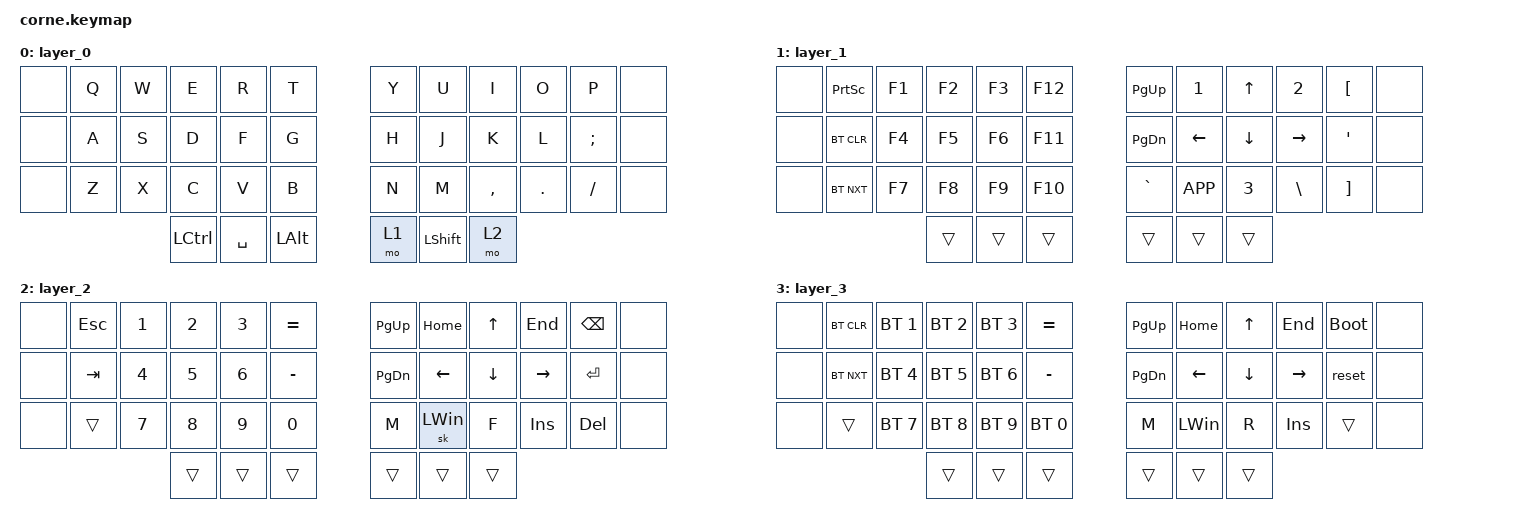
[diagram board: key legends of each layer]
/*
 * Copyright (c) 2020 The ZMK Contributors
 *
 * SPDX-License-Identifier: MIT
 */

#include <behaviors.dtsi>
#include <dt-bindings/zmk/keys.h>
#include <dt-bindings/zmk/bt.h>
#include <dt-bindings/zmk/ext_power.h>

/ {
	conditional_layers{
		compatible = "zmk,conditional-layers";
		tri_layer {
			if-layers = <1 2>;
			then-layer = <3>;
		};
	};
};

/ {    
 	keymap {
   	compatible = "zmk,keymap";
			layer_0 {
// -----------------------------------------------------------------------------
// | ___ |  Q  |  W  |  E  |  R  |  T  |   |  Y  |  U  |  I  |  O  |  P  | ___ |
// | ___ |  A  |  S  |  D  |  F  |  G  |   |  H  |  J  |  K  |  L  |  ;  | ___ |
// | ___ |  Z  |  X  |  C  |  V  |  B  |   |  N  |  M  |  ,  |  .  |  /  | ___ |
//                   | CTL | SPC | ALT |   |  1  | SFT |  2  |
	bindings = <
   &none	&kp Q	&kp W	&kp E	&kp R	&kp T			&kp Y	&kp U	&kp I     &kp O   &kp P    &none
   &none	&kp A	&kp S	&kp D	&kp F	&kp G			&kp H	&kp J	&kp K     &kp L   &kp SEMI &none
   &none	&kp Z	&kp X	&kp C	&kp V	&kp B			&kp N	&kp M	&kp COMMA &kp DOT &kp FSLH &none
				&kp LCTRL &kp SPACE	&kp LALT		&mo 1 &kp LSHFT &mo 2
                        >;
		};
			layer_1 {
// -----------------------------------------------------------------------------
// | ___ |Print|  F1 |  F2 |  F3 | F12 |   | WhU | MB1 |M UP | MB2 | [х{ | ___ |
// | ___ | CLR |  F4 |  F5 |  F6 | F11 |   | WhD |MLFT |MDWN |MRGT | 'э" | ___ |
// | ___ | NXT |  F7 |  F8 |  F9 | F10 |   | `ё~ | menu| MB3 | \|	 | ]ъ} | ___ |
//                   | CTL | SPC | ALT |   |  1  | SFT |  2  |
	bindings = <
	&none	&kp PSCRN 	&kp F1 &kp F2 	&kp F3 	&kp F12			&kp PG_UP 	&kp N1	&kp UP  	&kp N2	  	&kp LBKT &none
	&none	&bt BT_CLR 	&kp F4 &kp F5	&kp F6	&kp F11			&kp PG_DN 	&kp LEFT	&kp DOWN &kp RIGHT	&kp SQT 	&none
	&none	&bt BT_NXT 	&kp F7 &kp F8	&kp F9	&kp F10			&kp GRAVE	&kp K_APP &kp N3 	&kp BSLH 	&kp RBKT	&none
									&trans	&trans	&trans			&trans 		&trans	&trans
                        >;
		};
			layer_2 {
// -----------------------------------------------------------------------------
// | ___ | Esc |  1  |  2  |  3  |  =  |   | pgU | home|  UP | end | bspc| ___ |
// | ___ | Tab |  4  |  5  |  6  |  -  |   | PgD | LFT | DWN | RGT | ent | ___ |
// | ___ | ___ |  7  |  8  |  9  |  0  |   |macr0| win |ru\en| ins | del | ___ |
//                   | CTL | SPC | ALT |   |  1  | SFT |  2  |
	bindings = <
	&none	&kp ESC	&kp N1	&kp N2	&kp N3	&kp EQUAL		&kp PG_UP	&kp HOME	&kp UP  	&kp END  	&kp BSPC &none
	&none	&kp TAB  &kp N4	&kp N5	&kp N6	&kp MINUS		&kp PG_DN	&kp LEFT	&kp DOWN &kp RIGHT	&kp RET 	&none
	&none	&trans	&kp N7	&kp N8	&kp N9	&kp N0			&kp M			&sk LWIN	&kp F   	&kp INS  	&kp DEL 	&none
									&trans	&trans	&trans			&trans		&trans	&trans
					>;
		};
			layer_3 {
// -----------------------------------------------------------------------------
// | ___ |BtClr| bt1 | bt2 | bt3 |  =  |   | pgU | home|  UP | end | boot| ___ |
// | ___ |BtSel| bt4 | bt5 | bt6 |  -  |   | PgD | LFT | DWN | RGT |reset| ___ |
// | ___ | ___ | bt7 | bt8 | bt9 |  0  |   |macr0| win |ru\en| ins |power| ___ |
//                   | CTL | SPC | ALT |   |  1  | SFT |  2  |
	bindings = <
	&none	&bt BT_CLR 	&bt BT_SEL 1	&bt BT_SEL 2	&bt BT_SEL 3	&kp EQUAL		&kp PG_UP	&kp HOME	&kp UP  	&kp END  	&bootloader &none
	&none	&bt BT_NXT 	&bt BT_SEL 4	&bt BT_SEL 5	&bt BT_SEL 6	&kp MINUS		&kp PG_DN	&kp LEFT	&kp DOWN &kp RIGHT	&reset 	&none
	&none	&trans 		&bt BT_SEL 7	&bt BT_SEL 8	&bt BT_SEL 9	&bt BT_SEL 0	&kp M			&kp LWIN	&kp R   	&kp INS  	/*&ext_power EP_TOG*/	&trans &none
									&trans	&trans	&trans										&trans		&trans	&trans
					>;
		};
	};
};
